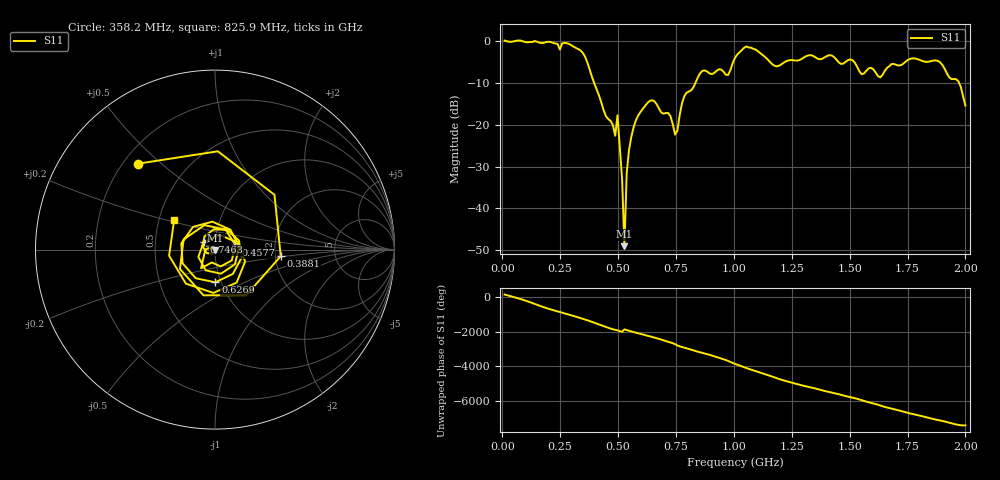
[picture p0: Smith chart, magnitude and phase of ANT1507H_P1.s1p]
!Created with skrf (http://scikit-rf.org).
# Hz S RI R 50.0
!freq ReS11 ImS11
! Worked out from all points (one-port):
!   201 points, 10 MHz to 2 GHz, reference 50 ohm
!   lowest |S11| = -49.0 dB at 527.4 MHz (marker M1), VSWR 1.01, Z = 50.1 - j0.342 ohm
!   |S11| at or under -10 dB: 396.6 MHz to 834.2 MHz (437.6 MHz wide, 71.1 % of centre); 1.973 GHz to end of sweep
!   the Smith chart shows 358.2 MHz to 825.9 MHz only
!   S11 on the Smith chart (normalised r, x): 358.2 MHz: 0.26, +0.42; 388.1 MHz: 2.14, -0.18; 457.8 MHz: 1.26, +0.06; 626.9 MHz: 0.94, -0.35; 746.3 MHz: 0.88, +0.08; 825.9 MHz: 0.60, +0.22
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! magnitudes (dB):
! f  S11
! 10 MHz  0.1
! 258.8 MHz  -0.5
! 358.2 MHz  -3.8
! 388.1 MHz  -8.7
! 457.8 MHz  -18.7
! 487.6 MHz  -22.6
! 497.6 MHz  -17.7
! 507.5 MHz  -25.4
! 517.5 MHz  -33.1
! 527.4 MHz  -49.0
! 537.4 MHz  -31.5
! 547.3 MHz  -26.0
! 626.9 MHz  -14.8
! 716.5 MHz  -17.2
! 746.3 MHz  -22.4
! 756.2 MHz  -21.4
! 786.1 MHz  -13.2
! 825.9 MHz  -11.0
! 865.7 MHz  -7.1
! 975.1 MHz  -8.1
! 1.005 GHz  -4.0
! 1.254 GHz  -4.6
! 1.502 GHz  -4.4
! 1.632 GHz  -8.7
! 1.751 GHz  -4.5
! 1.891 GHz  -5.1
! 1.97 GHz  -9.6
! 2 GHz  -15.4
